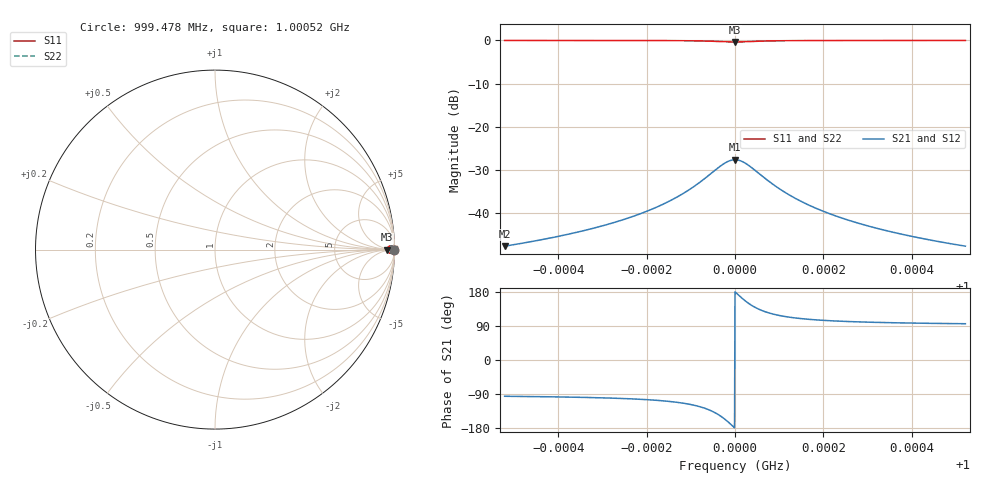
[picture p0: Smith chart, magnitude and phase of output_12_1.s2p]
! File generated for n1 = 12, n2 = 1
! b1 = 0.021544
! b2 = 0.021544
! Q0 = 10000.000000
! f0 = 1000000000.000000
! n = 1001
! rel_span = 10.000000
# Hz S RI R 50
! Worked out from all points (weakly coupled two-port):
!   1001 points, 999.478 MHz to 1.00052 GHz, reference 50 ohm
!   highest |S21| = -27.68 dB at 1 GHz (marker M1); lowest = -47.7 dB at 999.478 MHz (marker M2)
!   lowest |S11| = -0.4 dB at 1 GHz (marker M3), VSWR 47.42, Z = 2.37e+03 + j0 ohm
!   |S11| at or under -10 dB: nowhere
!   |S22| runs from -0.4 to 0.0 dB; largest |S21 - S12| = 0
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9.994785e8  0.9996 -0.00409  -0.000409 -0.00409  -0.000409 -0.00409  0.9996 -0.00409
9.995682e8  0.9994 -0.00492  -0.000594 -0.00492  -0.000594 -0.00492  0.9994 -0.00492
9.996527e8  0.9991 -0.00606  -0.00091 -0.00606  -0.00091 -0.00606  0.9991 -0.00606
9.997486e8  0.9983 -0.00822  -0.0017 -0.00822  -0.0017 -0.00822  0.9983 -0.00822
9.997893e8  0.9976 -0.00963  -0.00238 -0.00963  -0.00238 -0.00963  0.9976 -0.00963
9.998268e8  0.9966 -0.0114  -0.00344 -0.0114  -0.00344 -0.0114  0.9966 -0.0114
9.998634e8  0.9947 -0.0138  -0.00525 -0.0138  -0.00525 -0.0138  0.9947 -0.0138
9.998957e8  0.9917 -0.0165  -0.00826 -0.0165  -0.00826 -0.0165  0.9917 -0.0165
9.999207e8  0.9875 -0.019  -0.0125 -0.019  -0.0125 -0.019  0.9875 -0.019
9.99976e8  0.9659 -0.0157  -0.0341 -0.0157  -0.0341 -0.0157  0.9659 -0.0157
9.999885e8  0.9606 -0.00867  -0.0394 -0.00867  -0.0394 -0.00867  0.9606 -0.00867
1e9  0.9587 0  -0.0413 0  -0.0413 0  0.9587 0
1.000011e9  0.9606 0.00867  -0.0394 0.00867  -0.0394 0.00867  0.9606 0.00867
1.000024e9  0.9659 0.0157  -0.0341 0.0157  -0.0341 0.0157  0.9659 0.0157
1.000079e9  0.9875 0.019  -0.0125 0.019  -0.0125 0.019  0.9875 0.019
1.000104e9  0.9917 0.0165  -0.00826 0.0165  -0.00826 0.0165  0.9917 0.0165
1.000138e9  0.9948 0.0137  -0.00518 0.0137  -0.00518 0.0137  0.9948 0.0137
1.000174e9  0.9966 0.0114  -0.0034 0.0114  -0.0034 0.0114  0.9966 0.0114
1.000252e9  0.9983 0.00819  -0.00169 0.00819  -0.00169 0.00819  0.9983 0.00819
1.000348e9  0.9991 0.00605  -0.000906 0.00605  -0.000906 0.00605  0.9991 0.00605
1.000433e9  0.9994 0.00491  -0.000591 0.00491  -0.000591 0.00491  0.9994 0.00491
1.000522e9  0.9996 0.00409  -0.000409 0.00409  -0.000409 0.00409  0.9996 0.00409
